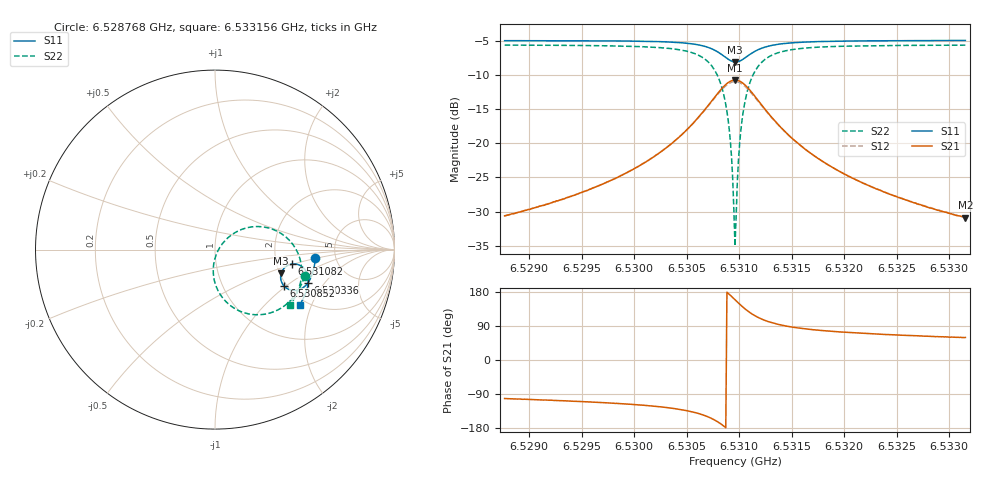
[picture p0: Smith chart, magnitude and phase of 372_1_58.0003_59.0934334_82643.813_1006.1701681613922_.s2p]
#  HZ  S  RI  R  50.00
! Rohde & Schwarz Vector Network Analyzer
! Rohde-Schwarz,ZNB20-2Port,1311601062101988,3.16
! Created: UTC 3/21/2024, 1:06:57 AM
! freq[Hz]  re:S11  im:S11  re:S21  im:S21  re:S12  im:S12  re:S22  im:S22
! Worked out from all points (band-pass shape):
!   401 points, 6.528768 GHz to 6.533156 GHz, reference 50 ohm
!   highest |S21| = -10.76 dB at 6.530962 GHz (marker M1); lowest = -30.9 dB at 6.533156 GHz (marker M2)
!   |S21| within 3 dB of the highest: 6.530743 GHz to 6.531182 GHz (439 kHz wide, 0.00672 % of centre)
!   lowest |S11| = -8.1 dB at 6.530962 GHz (marker M3), VSWR 2.29, Z = 102 - j32 ohm
!   |S11| at or under -10 dB: nowhere
!   |S22| runs from -35.1 to -5.7 dB; largest |S21 - S12| = 0.011
!   S11 on the Smith chart (normalised r, x): 6.528768 GHz: 3.49, -0.46; 6.530336 GHz: 2.59, -1.39; 6.530852 GHz: 1.93, -0.97; 6.531082 GHz: 2.42, -0.48; 6.533156 GHz: 1.82, -1.65
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6.5287677e9  0.5595 -0.0452  -0.00594 -0.0288  -0.00653 -0.0288  0.4994 -0.1484
6.5295026e9  0.5503 -0.1054  -0.0148 -0.0411  -0.0156 -0.0408  0.4707 -0.2152
6.5302376e9  0.5234 -0.1765  -0.0463 -0.0707  -0.0481 -0.0695  0.3938 -0.308
6.5303364e9  0.5157 -0.188  -0.0572 -0.0776  -0.0594 -0.0761  0.3709 -0.324
6.5306874e9  0.4528 -0.2274  -0.1535 -0.0958  -0.1557 -0.0897  0.1879 -0.3583
6.5307861e9  0.4138 -0.2228  -0.2138 -0.0723  -0.2134 -0.0637  0.0845 -0.3108
6.530852e9  0.3848 -0.203  -0.257 -0.0281  -0.2529 -0.0189  0.0174 -0.2296
6.5308849e9  0.3733 -0.1859  -0.2728 0.00573  -0.2665 0.0142  -0.00399 -0.1706
6.5309068e9  0.3681 -0.172  -0.2787 0.0321  -0.271 0.0396  -0.0096 -0.1259
6.5309178e9  0.3666 -0.1645  -0.2799 0.046  -0.2714 0.053  -0.00937 -0.1024
6.5309507e9  0.3669 -0.1409  -0.275 0.0893  -0.2654 0.0936  0.00539 -0.0321
6.5309617e9  0.3687 -0.1331  -0.2706 0.1032  -0.2608 0.1069  0.0149 -0.00954
6.5309726e9  0.3714 -0.1255  -0.2647 0.1169  -0.2548 0.1195  0.0267 0.0118
6.5309836e9  0.3749 -0.1183  -0.2573 0.1298  -0.2478 0.1315  0.0405 0.0318
6.5310055e9  0.3838 -0.1053  -0.2399 0.1528  -0.2307 0.153  0.073 0.0669
6.5310275e9  0.3949 -0.0949  -0.219 0.1713  -0.2105 0.1702  0.1104 0.0941
6.5310823e9  0.4265 -0.081  -0.1616 0.1967  -0.156 0.194  0.2096 0.127
6.5311591e9  0.4652 -0.0844  -0.0934 0.1949  -0.0905 0.1924  0.3243 0.112
6.5312688e9  0.498 -0.107  -0.0359 0.165  -0.0343 0.1637  0.4182 0.0478
6.5316967e9  0.5196 -0.1829  0.0142 0.0816  0.0151 0.0815  0.4833 -0.1294
6.5324317e9  0.4996 -0.2553  0.0166 0.0391  0.0174 0.039  0.4556 -0.2449
6.5331557e9  0.4716 -0.3084  0.0145 0.0246  0.0151 0.0244  0.4203 -0.3071
